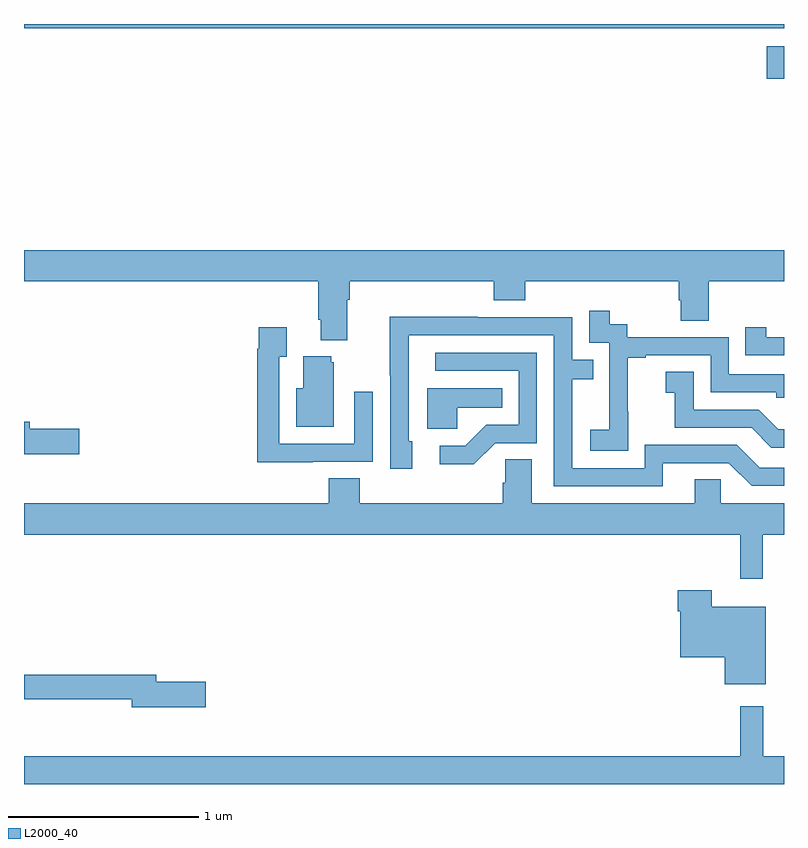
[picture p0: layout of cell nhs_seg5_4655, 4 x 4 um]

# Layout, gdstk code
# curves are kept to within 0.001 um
import gdstk
lib = gdstk.Library(unit=1e-6, precision=1e-09)
def R(c, l, rs):  # rectangles x0, y0, x1, y1
    for r in rs: c.add(gdstk.rectangle(r[:2], r[2:], *l))
def P(c, l, *ps):  # polygons
    for p in ps: c.add(gdstk.Polygon(p, *l))
L2000_40 = (2000, 40)

nhs_seg5_4655 = lib.new_cell('nhs_seg5_4655')
R(nhs_seg5_4655, L2000_40, [(388.908,840.512,389,840.682), (385,840.776,389,840.799)])
P(nhs_seg5_4655, L2000_40, [(386.701,839.348),(386.714,839.348),(386.714,839.444),(387.473,839.444),(387.473,839.345),(387.638,839.345),(387.638,839.444),(388.445,839.444),(388.445,839.346),(388.457,839.346),(388.457,839.236),(388.605,839.236),(388.605,839.444),(389,839.444),(389,839.608),(385,839.608),(385,839.444),(386.549,839.444),(386.549,839.242),(386.561,839.242),(386.561,839.135),(386.701,839.135)],
  [(388.179,838.759),(388.178,838.759),(388.178,839.043),(388.273,839.043),(388.273,839.055),(388.614,839.055),(388.614,838.86),(388.959,838.86),(388.959,838.833),(389,838.833),(389,838.956),(388.71,838.956),(388.71,839.151),(388.176,839.151),(388.176,839.22),(388.084,839.22),(388.084,839.29),(387.975,839.29),(387.975,839.121),(388.08,839.121),(388.08,838.892),(388.079,838.892),(388.079,838.663),(387.981,838.663),(387.981,838.553),(388.179,838.553)],
  [(388.363,838.488),(388.71,838.488),(388.83,838.368),(389,838.368),(389,838.464),(388.872,838.464),(388.752,838.584),(388.266,838.584),(388.266,838.461),(387.885,838.461),(387.885,838.93),(387.995,838.93),(387.995,839.031),(387.885,839.031),(387.885,839.256),(387.389,839.256),(387.389,839.258),(386.926,839.258),(386.926,838.951),(386.928,838.951),(386.928,838.458),(387.043,838.458),(387.043,838.602),(387.024,838.602),(387.025,839.16),(387.789,839.16),(387.789,838.365),(388.363,838.365)],
  [(386.519,838.494),(386.835,838.494),(386.835,838.864),(386.739,838.864),(386.739,838.59),(386.343,838.59),(386.343,839.047),(386.383,839.047),(386.383,839.203),(386.235,839.203),(386.235,839.09),(386.227,839.09),(386.227,838.493),(386.519,838.493)],
  [(389,839.151),(388.906,839.151),(388.906,839.203),(388.795,839.203),(388.795,839.055),(389,839.055)],
  [(387.48,838.593),(387.699,838.593),(387.699,839.07),(387.165,839.07),(387.165,838.974),(387.603,838.974),(387.603,838.689),(387.434,838.689),(387.323,838.578),(387.189,838.578),(387.189,838.481),(387.367,838.481)],
  [(386.629,839.019),(386.618,839.019),(386.618,839.05),(386.471,839.05),(386.471,838.882),(386.432,838.882),(386.432,838.679),(386.629,838.679)],
  [(389,838.666),(388.97,838.666),(388.866,838.77),(388.524,838.77),(388.524,838.969),(388.377,838.969),(388.377,838.859),(388.426,838.859),(388.426,838.674),(388.829,838.674),(388.934,838.569),(389,838.569)],
  [(387.279,838.778),(387.518,838.778),(387.518,838.882),(387.122,838.882),(387.122,838.67),(387.279,838.67)],
  [(385.291,838.67),(385.03,838.67),(385.03,838.706),(385,838.706),(385,838.535),(385.291,838.535)],
  [(388.889,838.112),(389,838.112),(389,838.276),(388.668,838.276),(388.668,838.403),(388.529,838.403),(388.529,838.276),(387.673,838.276),(387.673,838.508),(387.534,838.508),(387.534,838.385),(387.521,838.385),(387.521,838.276),(386.768,838.276),(386.768,838.409),(386.603,838.409),(386.603,838.276),(385,838.276),(385,838.112),(388.771,838.112),(388.771,837.879),(388.889,837.879)],
  [(388.903,837.733),(388.62,837.733),(388.62,837.82),(388.442,837.82),(388.442,837.707),(388.454,837.707),(388.454,837.467),(388.688,837.467),(388.688,837.323),(388.903,837.323)],
  [(385.957,837.338),(385.696,837.338),(385.696,837.374),(385,837.374),(385,837.246),(385.568,837.246),(385.568,837.203),(385.957,837.203)],
  [(389,836.944),(388.89,836.944),(388.89,837.208),(388.771,837.208),(388.771,836.944),(385,836.944),(385,836.799),(389,836.799)])

lib.write_gds('nhs_seg5_4655.gds')
